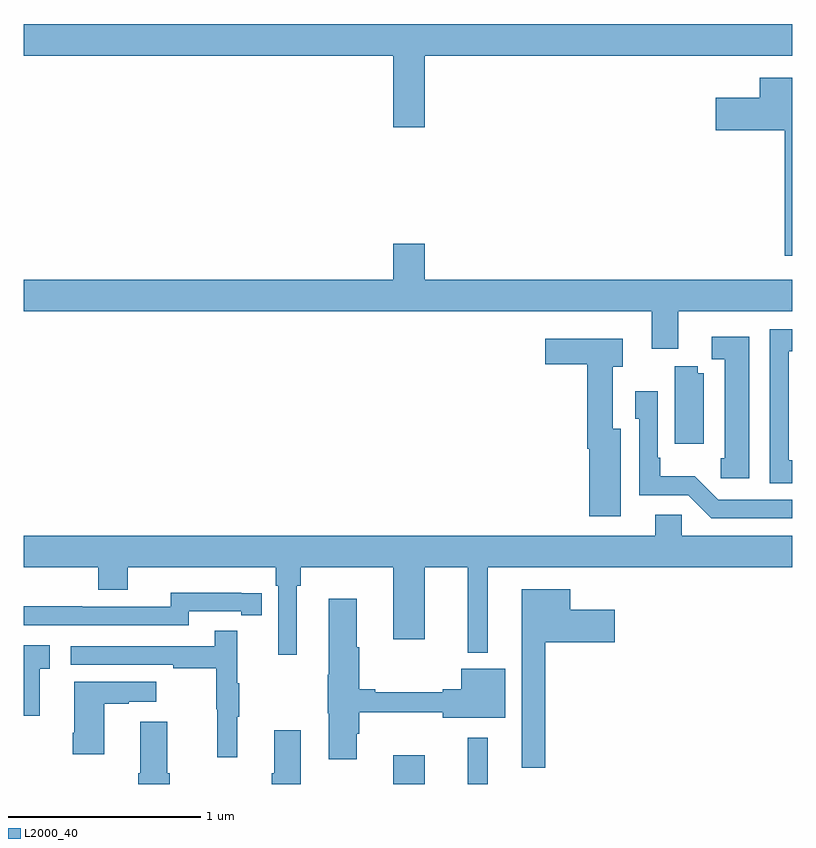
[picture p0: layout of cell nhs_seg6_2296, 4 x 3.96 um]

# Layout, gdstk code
import gdstk
lib = gdstk.Library(unit=1e-6, precision=1e-09)
def R(c, l, rs):  # rectangles x0, y0, x1, y1
    for r in rs: c.add(gdstk.rectangle(r[:2], r[2:], *l))
def P(c, l, *ps):  # polygons
    for p in ps: c.add(gdstk.Polygon(p, *l))
L2000_40 = (2000, 40)

nhs_seg6_2296 = lib.new_cell('nhs_seg6_2296')
R(nhs_seg6_2296, L2000_40, [(248.924,987.5,249.088,987.649), (249.311,987.5,249.415,987.742)])
P(nhs_seg6_2296, L2000_40, [(249.088,991.292),(251,991.292),(251,991.456),(247,991.456),(247,991.292),(248.924,991.292),(248.924,990.918),(249.088,990.918)],
  [(251,991.177),(250.832,991.177),(250.832,991.072),(250.602,991.072),(250.602,990.902),(250.962,990.902),(250.962,990.249),(251,990.249)],
  [(250.408,989.96),(251,989.96),(251,990.124),(249.088,990.124),(249.088,990.313),(248.924,990.313),(248.924,990.124),(247,990.124),(247,989.96),(250.268,989.96),(250.268,989.766),(250.408,989.766)],
  [(251,989.185),(250.983,989.185),(250.983,989.489),(250.981,989.489),(250.981,989.752),(251,989.752),(251,989.868),(250.884,989.868),(250.884,989.065),(251,989.065)],
  [(250.777,989.827),(250.581,989.827),(250.581,989.712),(250.649,989.712),(250.649,989.196),(250.627,989.196),(250.627,989.091),(250.777,989.091)],
  [(250.108,989.35),(250.066,989.35),(250.066,989.671),(250.117,989.671),(250.117,989.818),(249.714,989.818),(249.714,989.684),(249.932,989.684),(249.932,989.246),(249.944,989.246),(249.944,988.893),(250.108,988.893)],
  [(250.54,989.638),(250.508,989.638),(250.508,989.675),(250.388,989.675),(250.388,989.271),(250.54,989.271)],
  [(251,988.98),(250.614,988.98),(250.493,989.101),(250.312,989.101),(250.312,989.197),(250.299,989.197),(250.299,989.545),(250.182,989.545),(250.182,989.4),(250.203,989.4),(250.203,989.004),(250.458,989.004),(250.578,988.884),(251,988.884)],
  [(248.422,988.532),(248.441,988.532),(248.441,988.628),(248.924,988.628),(248.924,988.254),(249.088,988.254),(249.088,988.628),(249.311,988.628),(249.311,988.184),(249.415,988.184),(249.415,988.628),(251,988.628),(251,988.792),(250.425,988.792),(250.425,988.902),(250.286,988.902),(250.286,988.792),(247,988.792),(247,988.628),(247.388,988.628),(247.388,988.511),(247.54,988.511),(247.54,988.628),(248.312,988.628),(248.312,988.532),(248.325,988.532),(248.325,988.173),(248.422,988.173)],
  [(249.715,988.238),(250.075,988.238),(250.075,988.408),(249.844,988.408),(249.844,988.513),(249.593,988.513),(249.593,987.585),(249.715,987.585)],
  [(247.86,988.398),(248.132,988.398),(248.132,988.378),(248.24,988.378),(248.24,988.494),(248.132,988.494),(248.132,988.495),(247.764,988.495),(247.764,988.422),(247.304,988.422),(247.304,988.424),(247,988.424),(247,988.326),(247.86,988.326)],
  [(248.734,987.761),(248.747,987.761),(248.747,987.874),(249.182,987.874),(249.182,987.845),(249.505,987.845),(249.505,988.099),(249.278,988.099),(249.278,987.992),(249.182,987.992),(249.182,987.977),(248.83,987.977),(248.83,987.992),(248.747,987.992),(248.747,988.211),(248.734,988.211),(248.734,988.465),(248.588,988.465),(248.588,988.069),(248.581,988.069),(248.581,987.869),(248.588,987.869),(248.588,987.63),(248.734,987.63)],
  [(248.111,987.851),(248.122,987.851),(248.122,988.025),(248.111,988.025),(248.111,988.297),(247.993,988.297),(247.993,988.218),(247.245,988.218),(247.245,988.122),(247.777,988.122),(247.777,988.102),(248.001,988.102),(248.001,987.888),(248.008,987.888),(248.008,987.639),(248.111,987.639)],
  [(247.082,988.101),(247.135,988.101),(247.135,988.222),(247,988.222),(247,987.855),(247.082,987.855)],
  [(247.42,987.919),(247.547,987.919),(247.547,987.929),(247.69,987.929),(247.69,988.033),(247.262,988.033),(247.262,987.766),(247.255,987.766),(247.255,987.654),(247.42,987.654)],
  [(247.76,987.556),(247.747,987.556),(247.747,987.823),(247.607,987.823),(247.607,987.556),(247.595,987.556),(247.595,987.5),(247.76,987.5)],
  [(248.443,987.781),(248.303,987.781),(248.303,987.556),(248.291,987.556),(248.291,987.5),(248.443,987.5)])

lib.write_gds('nhs_seg6_2296.gds')
